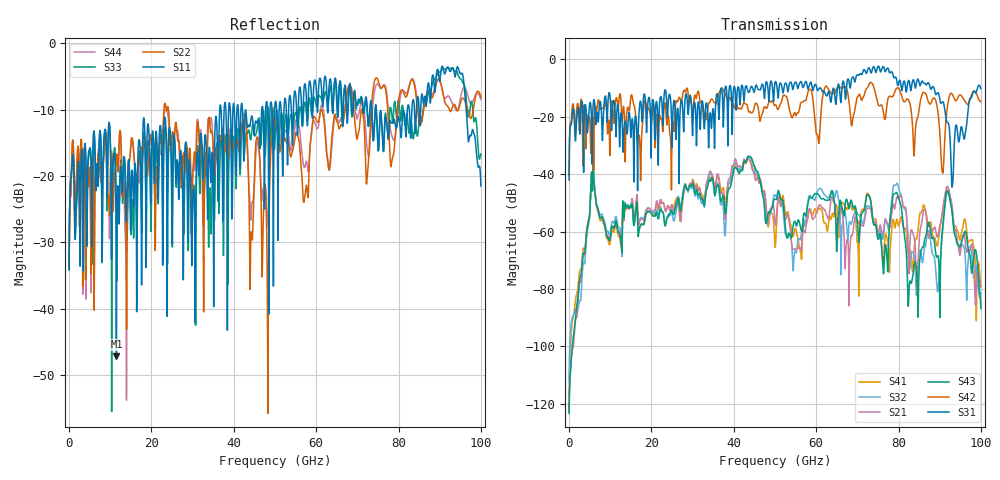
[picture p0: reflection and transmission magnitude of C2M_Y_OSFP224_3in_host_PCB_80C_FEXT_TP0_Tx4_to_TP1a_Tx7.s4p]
# GHz S RI R 45
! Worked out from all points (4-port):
!   4000 points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, 25 MHz to 100 GHz, reference 45 ohm
!   strongest paths, dB at 25 MHz, 25.02 GHz, 50.02 GHz, 75.03 GHz, 100 GHz:
!     S31: -42.1, -30.6, -8.0, -2.4, -10.2
!     S42: -40.5, -26.4, -15.9, -15.6, -14.6
!     S43: -123.4, -52.8, -48.7, -62.6, -86.8
!     S21: -122.9, -50.8, -56.8, -60.2, -79.1
!     S32: -112.6, -53.5, -47.3, -62.1, -81.2
!     S41: -123.0, -50.7, -65.2, -60.7, -79.3
!   lowest |S11| = -47.2 dB at 11.5 GHz (marker M1), VSWR 1.01, Z = 44.7 + j0.204 ohm
!   |S11| at or under -10 dB: start of sweep to 36.59 GHz; 42.11 GHz to 46.8 GHz (4.685 GHz wide, 10.5 % of centre); 74.63 GHz to 82.15 GHz (7.52 GHz wide, 9.59 % of centre) (the widest 3 of 33)
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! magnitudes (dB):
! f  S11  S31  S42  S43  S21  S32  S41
! 25 MHz  -34.1  -42.1  -40.5  -123.4  -122.9  -112.6  -123.0
! 5.725 GHz  -18.5  -20.5  -19.7  -42.5  -42.8  -42.7  -42.5
! 11.5 GHz  -47.2  -23.0  -13.3  -56.6  -56.4  -55.1  -57.8
! 43.83 GHz  -12.6  -11.1  -18.2  -34.0  -34.8  -33.7  -35.2
! 54.67 GHz  -7.6  -8.6  -18.6  -56.6  -66.0  -68.3  -60.1
! 93.08 GHz  -3.7  -44.0  -12.2  -54.1  -52.1  -52.3  -53.2
! 100 GHz  -21.5  -10.2  -14.6  -86.8  -79.1  -81.2  -79.3
